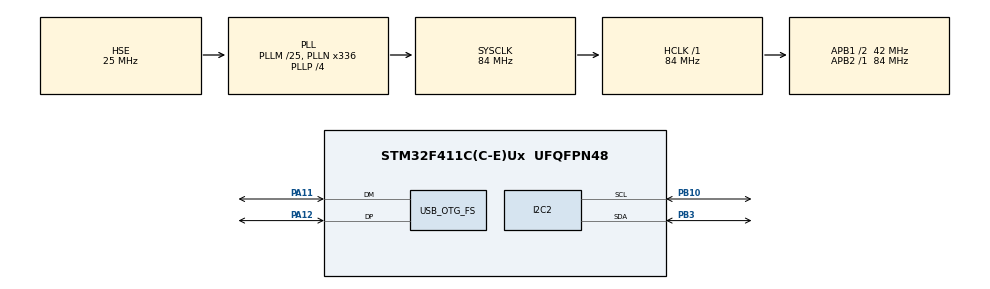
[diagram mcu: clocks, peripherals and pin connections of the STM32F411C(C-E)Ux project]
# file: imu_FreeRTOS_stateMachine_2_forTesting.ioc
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FREERTOS.Tasks01=defaultTask,24,128,StartDefaultTask,Default,NULL,Dynamic,NULL,NULL
Mcu.Family=STM32F4
Mcu.Name=STM32F411C(C-E)Ux
Mcu.Package=UFQFPN48
NVIC.OTG_FS_IRQn=true\:5\:0\:false\:false\:true\:true\:false\:true\:true
NVIC.PriorityGroup=NVIC_PRIORITYGROUP_4
PA11.Mode=Device_Only
PA11.Signal=USB_OTG_FS_DM
PA12.Mode=Device_Only
PA12.Signal=USB_OTG_FS_DP
PB10.Mode=I2C
PB10.Signal=I2C2_SCL
PB3.Mode=I2C
PB3.Signal=I2C2_SDA
PH0\ -\ OSC_IN.Mode=HSE-External-Oscillator
PH0\ -\ OSC_IN.Signal=RCC_OSC_IN
PH1\ -\ OSC_OUT.Mode=HSE-External-Oscillator
PH1\ -\ OSC_OUT.Signal=RCC_OSC_OUT
ProjectManager.HeapSize=0x200
ProjectManager.StackSize=0x400
ProjectManager.TargetToolchain=STM32CubeIDE
RCC.48MHZClocksFreq_Value=48000000
RCC.AHBFreq_Value=84000000
RCC.APB1CLKDivider=RCC_HCLK_DIV2
RCC.APB1Freq_Value=42000000
RCC.APB1TimFreq_Value=84000000
RCC.APB2Freq_Value=84000000
RCC.APB2TimFreq_Value=84000000
RCC.CortexFreq_Value=84000000
RCC.HCLKFreq_Value=84000000
RCC.HSE_VALUE=25000000
RCC.HSI_VALUE=16000000
RCC.LSE_VALUE=32768
RCC.PLLM=25
RCC.PLLN=336
RCC.PLLP=RCC_PLLP_DIV4
RCC.PLLQ=7
RCC.SYSCLKFreq_VALUE=84000000
RCC.SYSCLKSource=RCC_SYSCLKSOURCE_PLLCLK
RCC.VCOOutputFreq_Value=336000000
USB_DEVICE.CLASS_NAME_FS=CDC
USB_DEVICE.VirtualMode=Cdc
USB_DEVICE.VirtualModeFS=Cdc_FS
USB_OTG_FS.VirtualMode=Device_Only
VP_FREERTOS_VS_CMSIS_V2.Mode=CMSIS_V2
VP_USB_DEVICE_VS_USB_DEVICE_CDC_FS.Mode=CDC_FS
board=custom

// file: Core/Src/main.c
/* USER CODE BEGIN Header */
/**
  ******************************************************************************
  * @file           : main.c
  * @brief          : Main program body
  ******************************************************************************
  * @attention
  *
  * Copyright (c) 2026 STMicroelectronics.
  * All rights reserved.
  *
  * This software is licensed under terms that can be found in the LICENSE file
  * in the root directory of this software component.
  * If no LICENSE file comes with this software, it is provided AS-IS.
  *
  ******************************************************************************
  */
/* USER CODE END Header */
#include "main.h"
#include "cmsis_os.h"
#include "usb_device.h"

/* USER CODE BEGIN Includes */
#include "stdio.h"
#include "usbd_cdc_if.h"
#include "usbd_cdc.h"
#include "string.h"
#include "math.h"   // for DEG2RAD
#include <stdlib.h>
#include "FreeRTOS.h"
#include "task.h"
#include "queue.h"
#include "app_tasks.h"

#include "cJSON.h"

#include "pcb.h"

#include "board_init.h"

#include "usbd_cdc.h"
#include "usbd_core.h"
/* USER CODE END Includes */

I2C_HandleTypeDef hi2c2;

/* Definitions for defaultTask */
osThreadId_t defaultTaskHandle;
const osThreadAttr_t defaultTask_attributes = {
  .name = "defaultTask",
  .stack_size = 128 * 4,
  .priority = (osPriority_t) osPriorityNormal,
};
/* USER CODE BEGIN PV */
extern uint8_t usb_rx_buffer[128];
extern uint32_t usb_rx_length;
extern uint8_t usb_rx_flag;

volatile uint32_t imu_rate_ms = 10;
volatile uint32_t runtime_counter = 0;

volatile float usb_us = 0;

extern USBD_HandleTypeDef hUsbDeviceFS;
/* USER CODE END PV */

void SystemClock_Config(void);
static void MX_GPIO_Init(void);
static void MX_I2C2_Init(void);
void StartDefaultTask(void *argument);

int main(void)
{

  /* MCU Configuration--------------------------------------------------------*/

  /* Reset of all peripherals, Initializes the Flash interface and the Systick. */
  HAL_Init();

  /* Configure the system clock */
  SystemClock_Config();

  /* Initialize all configured peripherals */
  MX_GPIO_Init();
  MX_I2C2_Init();
  /* USER CODE BEGIN 2 */
	 MX_USB_DEVICE_Init();

	 CoreDebug->DEMCR |= CoreDebug_DEMCR_TRCENA_Msk;
	 DWT->CYCCNT = 0;
	 DWT->CTRL |= DWT_CTRL_CYCCNTENA_Msk;

	 app_tasks_init();

	 imu_system_init();

	 vTaskStartScheduler();
  /* USER CODE END 2 */

  /* Init scheduler */
  osKernelInitialize();

  /* Create the thread(s) */
  /* creation of defaultTask */
  defaultTaskHandle = osThreadNew(StartDefaultTask, NULL, &defaultTask_attributes);

  /* Start scheduler */
  osKernelStart();

  /* We should never get here as control is now taken by the scheduler */

  /* Infinite loop */
  while (1)
  {

  }
}

void SystemClock_Config(void)
{
  RCC_OscInitTypeDef RCC_OscInitStruct = {0};
  RCC_ClkInitTypeDef RCC_ClkInitStruct = {0};

  /** Configure the main internal regulator output voltage
  */
  __HAL_RCC_PWR_CLK_ENABLE();
  __HAL_PWR_VOLTAGESCALING_CONFIG(PWR_REGULATOR_VOLTAGE_SCALE1);

  /** Initializes the RCC Oscillators according to the specified parameters
  * in the RCC_OscInitTypeDef structure.
  */
  RCC_OscInitStruct.OscillatorType = RCC_OSCILLATORTYPE_HSE;
  RCC_OscInitStruct.HSEState = RCC_HSE_ON;
  RCC_OscInitStruct.PLL.PLLState = RCC_PLL_ON;
  RCC_OscInitStruct.PLL.PLLSource = RCC_PLLSOURCE_HSE;
  RCC_OscInitStruct.PLL.PLLM = 25;
  RCC_OscInitStruct.PLL.PLLN = 336;
  RCC_OscInitStruct.PLL.PLLP = RCC_PLLP_DIV4;
  RCC_OscInitStruct.PLL.PLLQ = 7;
  if (HAL_RCC_OscConfig(&RCC_OscInitStruct) != HAL_OK)
  {
    Error_Handler();
  }

  /** Initializes the CPU, AHB and APB buses clocks
  */
  RCC_ClkInitStruct.ClockType = RCC_CLOCKTYPE_HCLK|RCC_CLOCKTYPE_SYSCLK
                              |RCC_CLOCKTYPE_PCLK1|RCC_CLOCKTYPE_PCLK2;
  RCC_ClkInitStruct.SYSCLKSource = RCC_SYSCLKSOURCE_PLLCLK;
  RCC_ClkInitStruct.AHBCLKDivider = RCC_SYSCLK_DIV1;
  RCC_ClkInitStruct.APB1CLKDivider = RCC_HCLK_DIV2;
  RCC_ClkInitStruct.APB2CLKDivider = RCC_HCLK_DIV1;

  if (HAL_RCC_ClockConfig(&RCC_ClkInitStruct, FLASH_LATENCY_2) != HAL_OK)
  {
    Error_Handler();
  }
}

static void MX_I2C2_Init(void)
{

  hi2c2.Instance = I2C2;
  hi2c2.Init.ClockSpeed = 100000;
  hi2c2.Init.DutyCycle = I2C_DUTYCYCLE_2;
  hi2c2.Init.OwnAddress1 = 0;
  hi2c2.Init.AddressingMode = I2C_ADDRESSINGMODE_7BIT;
  hi2c2.Init.DualAddressMode = I2C_DUALADDRESS_DISABLE;
  hi2c2.Init.OwnAddress2 = 0;
  hi2c2.Init.GeneralCallMode = I2C_GENERALCALL_DISABLE;
  hi2c2.Init.NoStretchMode = I2C_NOSTRETCH_DISABLE;
  if (HAL_I2C_Init(&hi2c2) != HAL_OK)
  {
    Error_Handler();
  }

}

static void MX_GPIO_Init(void)
{

  /* GPIO Ports Clock Enable */
  __HAL_RCC_GPIOH_CLK_ENABLE();
  __HAL_RCC_GPIOB_CLK_ENABLE();
  __HAL_RCC_GPIOA_CLK_ENABLE();

}

void StartDefaultTask(void *argument)
{
  /* init code for USB_DEVICE */
  MX_USB_DEVICE_Init();
  for(;;)
  {
    osDelay(1);
  }
}

void Error_Handler(void)
{
  __disable_irq();
  while (1)
  {
  }
}
